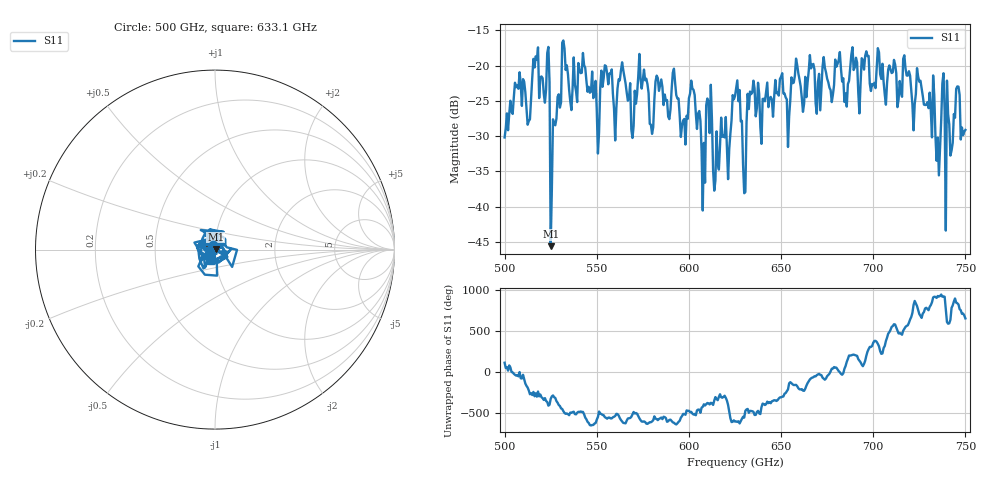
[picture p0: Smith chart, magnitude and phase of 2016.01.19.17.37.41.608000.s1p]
!Created with skrf (http://scikit-rf.org).
# GHz S RI R 50.0
!freq ReS11 ImS11
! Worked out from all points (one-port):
!   401 points, 500 GHz to 750 GHz, reference 50 ohm
!   lowest |S11| = -45.6 dB at 525 GHz (marker M1), VSWR 1.01, Z = 50.4 + j0.318 ohm
!   |S11| at or under -10 dB: start of sweep to end of sweep
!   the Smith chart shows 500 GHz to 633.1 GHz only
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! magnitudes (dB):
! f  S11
! 500 GHz  -30.2
! 506.9 GHz  -22.8
! 513.1 GHz  -27.9
! 516.9 GHz  -18.7
! 523.1 GHz  -18.2
! 525 GHz  -45.6
! 526.2 GHz  -27.6
! 531.2 GHz  -16.7
! 550 GHz  -26.3
! 562.5 GHz  -22.1
! 570 GHz  -28.5
! 574.4 GHz  -23.3
! 580 GHz  -29.7
! 593.8 GHz  -24.7
! 596.9 GHz  -27.8
! 601.9 GHz  -23.2
! 607.5 GHz  -40.5
! 610.6 GHz  -25.1
! 614.4 GHz  -36.3
! 625 GHz  -24.3
! 630 GHz  -38.1
! 634.4 GHz  -23.8
! 656.2 GHz  -22.5
! 687.5 GHz  -20.3
! 718.8 GHz  -21.4
! 735 GHz  -30.2
! 745.6 GHz  -22.9
! 750 GHz  -29.1
